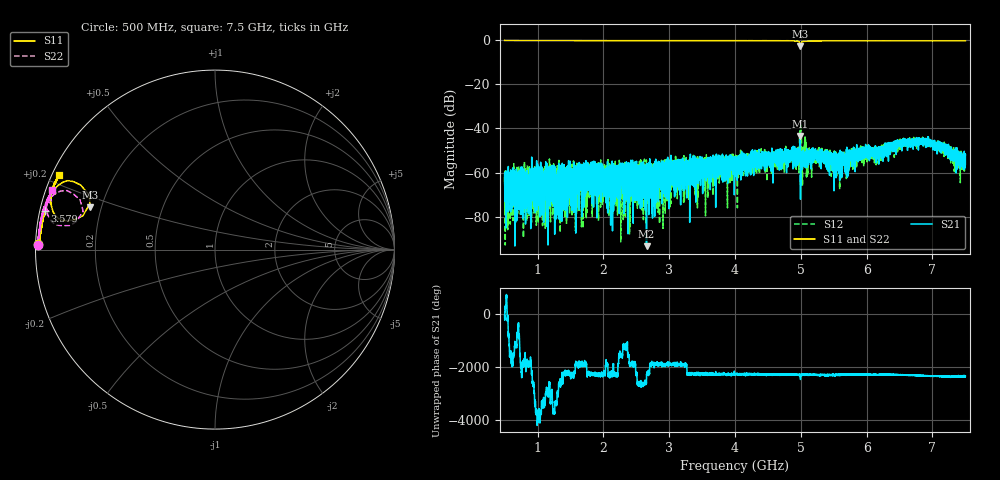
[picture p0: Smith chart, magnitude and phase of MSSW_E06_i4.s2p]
!Keysight Technologies,M9374A,MY55442783,A.12.55.05
!Date: Thursday, May 20, 2021 14:43:18
!Correction: S11(Full 2 Port(1,2))
!S21(Full 2 Port(1,2))
!S12(Full 2 Port(1,2))
!S22(Full 2 Port(1,2))
!S2P File: Measurements: S11, S21, S12, S22:
# Hz S  RI  R 50
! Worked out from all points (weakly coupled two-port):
!   7001 points, 500 MHz to 7.5 GHz, reference 50 ohm
!   highest |S21| = -43.38 dB at 4.986 GHz (marker M1); lowest = -93.3 dB at 2.656 GHz (marker M2)
!   lowest |S11| = -2.7 dB at 4.993 GHz (marker M3), VSWR 6.55, Z = 7.84 + j8.04 ohm
!   |S11| at or under -10 dB: nowhere
!   |S22| runs from -2.4 to -0.1 dB; largest |S21 - S12| = 0.012
!   S11 on the Smith chart (normalised r, x): 500 MHz: 0.01, +0.02; 3.579 GHz: 0.01, +0.11; 7.5 GHz: 0.02, +0.23
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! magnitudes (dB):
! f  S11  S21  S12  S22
! 500 MHz  -0.1  -60.1  -61.8  -0.1
! 536 MHz  -0.2  -72.8  -60.8  -0.1
! 718 MHz  -0.2  -64.6  -66.5  -0.1
! 1.456 GHz  -0.2  -75.3  -56.5  -0.1
! 1.667 GHz  -0.2  -65.9  -74.7  -0.1
! 1.874 GHz  -0.2  -59.5  -58.5  -0.1
! 2.036 GHz  -0.2  -62.6  -70.1  -0.2
! 2.23 GHz  -0.2  -63.8  -64.5  -0.1
! 2.656 GHz  -0.2  -93.3  -60.8  -0.2
! 2.834 GHz  -0.2  -62.5  -57.0  -0.1
! 3.579 GHz  -0.2  -57.8  -59.6  -0.2
! 4 GHz  -0.2  -53.7  -56.1  -0.2
! 4.943 GHz  -0.4  -51.3  -55.7  -0.3
! 4.986 GHz  -1.9  -43.4  -45.2  -1.6
! 4.993 GHz  -2.7  -48.3  -39.9  -2.4
! 5.116 GHz  -0.4  -53.5  -53.9  -0.4
! 5.167 GHz  -0.4  -52.9  -54.6  -0.3
! 5.598 GHz  -0.3  -49.9  -53.7  -0.2
! 6.334 GHz  -0.3  -49.7  -50.8  -0.2
! 6.906 GHz  -0.3  -45.7  -45.6  -0.3
! 7.388 GHz  -0.3  -53.0  -54.5  -0.3
! 7.5 GHz  -0.3  -56.3  -51.8  -0.3
